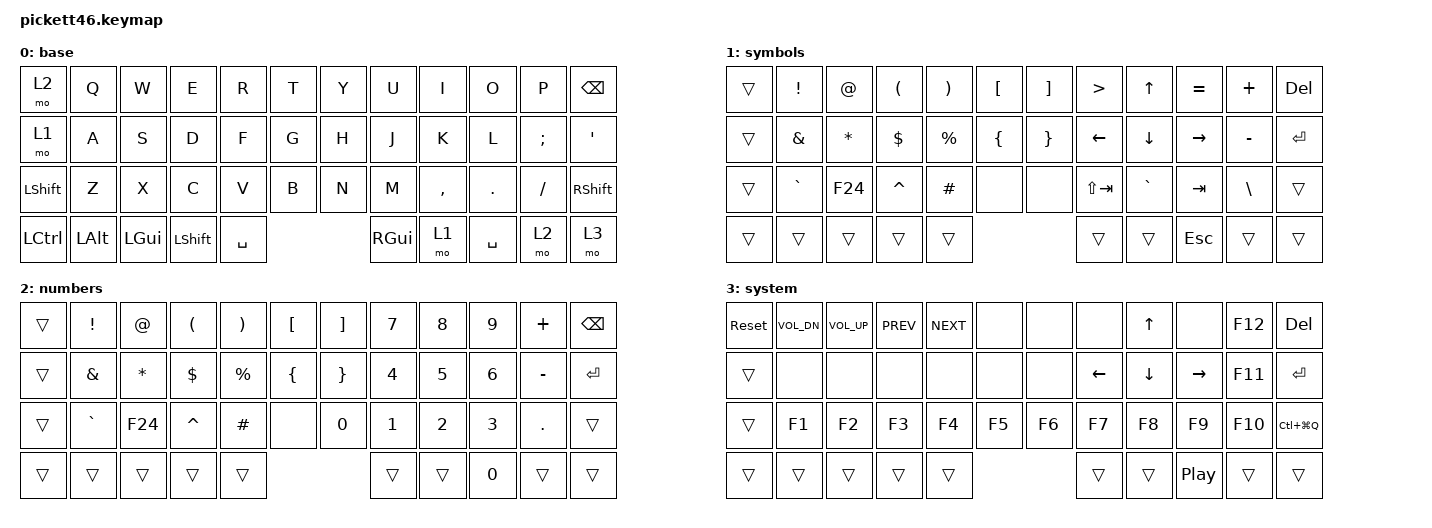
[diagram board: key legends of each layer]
#include <behaviors.dtsi>
#include <dt-bindings/zmk/keys.h>
#include <dt-bindings/zmk/bt.h>
/ {
    keymap {
        compatible = "zmk,keymap";
        base {
            bindings = <
                &mo 2     &kp Q &kp W &kp E &kp R &kp T  &kp Y &kp U &kp I     &kp O   &kp P   &kp BSPC
                &mo 1     &kp A &kp S &kp D &kp F &kp G  &kp H &kp J &kp K     &kp L   &kp SEMI &kp SQT
                &kp LSHFT &kp Z &kp X &kp C &kp V &kp B  &kp N &kp M &kp COMMA &kp DOT &kp FSLH &kp RSHFT
                &kp LCTRL &kp LALT &kp LGUI &kp LSHFT &kp SPACE  &kp RGUI &mo 1 &kp SPACE &mo 2 &mo 3
            >;
        };
        symbols {
            bindings = <
                &trans &kp EXCL &kp AT &kp LPAR &kp RPAR &kp LBKT &kp RBKT &kp GT &kp UP &kp EQUAL &kp PLUS &kp DEL
                &trans &kp AMPS &kp ASTRK &kp DLLR &kp PRCNT &kp LBRC &kp RBRC &kp LEFT &kp DOWN &kp RIGHT &kp MINUS &kp ENTER
                &trans &kp GRAVE &kp F24 &kp CARET &kp HASH &none &none &kp LS(TAB) &kp GRAVE &kp TAB &kp BSLH &trans
                &trans &trans &trans &trans &trans &trans &trans &kp ESC &trans &trans
            >;
        };
        numbers {
            bindings = <
                &trans &kp EXCL &kp AT &kp LPAR &kp RPAR &kp LBKT &kp RBKT &kp N7 &kp N8 &kp N9 &kp PLUS &kp BSPC
                &trans &kp AMPS &kp ASTRK &kp DLLR &kp PRCNT &kp LBRC &kp RBRC &kp N4 &kp N5 &kp N6 &kp MINUS &kp ENTER
                &trans &kp GRAVE &kp F24 &kp CARET &kp HASH &none &kp N0 &kp N1 &kp N2 &kp N3 &kp DOT &trans
                &trans &trans &trans &trans &trans &trans &trans &kp N0 &trans &trans
            >;
        };
        system {
            bindings = <
                &sys_reset &kp C_VOL_DN &kp C_VOL_UP &kp C_PREV &kp C_NEXT &none &none &none &kp UP &none &kp F12 &kp DEL
                &trans &none &none &none &none &none &none &kp LEFT &kp DOWN &kp RIGHT &kp F11 &kp ENTER
                &trans &kp F1 &kp F2 &kp F3 &kp F4 &kp F5 &kp F6 &kp F7 &kp F8 &kp F9 &kp F10 &kp LC(LG(Q))
                &trans &trans &trans &trans &trans &trans &trans &kp C_PLAY_PAUSE &trans &trans
            >;
        };
    };
};
